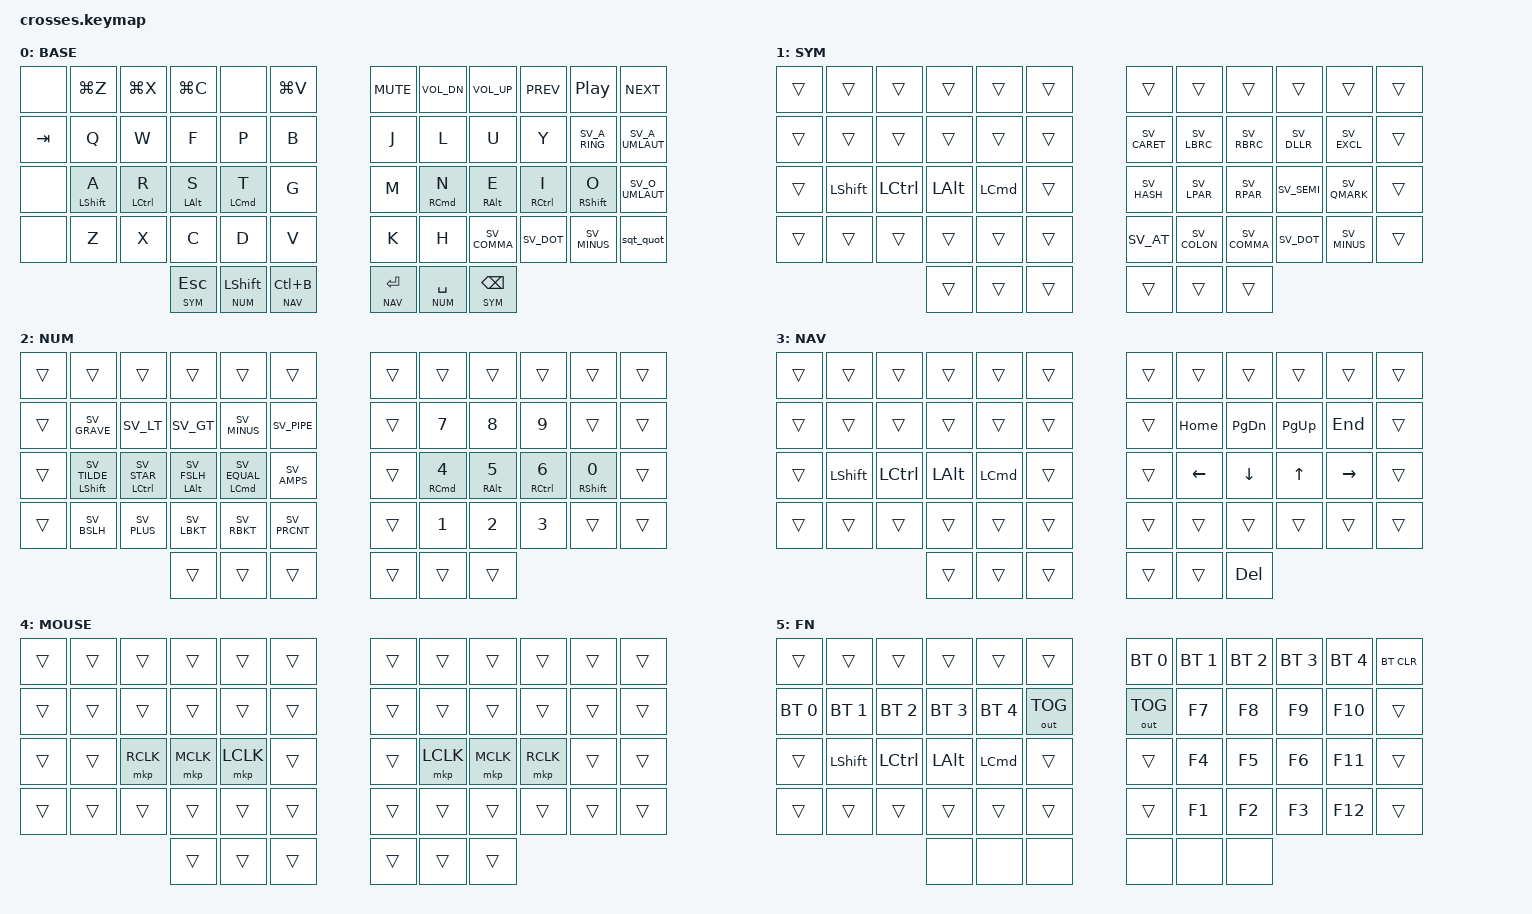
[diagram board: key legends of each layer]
#include <zephyr/dt-bindings/input/input-event-codes.h>
#include <behaviors.dtsi>
#include <dt-bindings/zmk/bt.h>
#include <dt-bindings/zmk/keys.h>
#include <dt-bindings/zmk/outputs.h>
#include <dt-bindings/zmk/pointing.h>

#ifndef KEYMAP_DRAWER

#include "keys_sv.h"

#endif

#define BASE    0
#define SYM     1
#define NUM     2
#define NAV     3
#define MOUSE   4
#define FN      5

#define QUICK_TAP_MS 175

/* App shortcuts */

#define M_FIND  LG(F)
#define M_UNDO  LG(Z)
#define M_COPY  LG(C)
#define M_CUT   LG(X)
#define M_PASTE LG(V)
#define M_ALL   LG(A)
#define M_SAVE  LG(S)
#define M_NEW   LG(N)
#define TMUX    LC(B)
#define BRI_UP LC(C_BRI_UP)
#define BRI_DN LC(C_BRI_DN)

/* 
    ╭────────────────────────┬────────────────────────╮ ╭─────────────────────────┬─────────────────────────╮
    │  0   1   2   3   4   5 │  6   7   8   9  10  11 │ │ LN5 LN4 LN3 LN2 LN1 LN0 │ RN0 RN1 RN2 RN3 RN4 RN5 │
    │ 12  13  14  15  16  17 │ 18  19  20  21  22  23 │ │ LT5 LT4 LT3 LT2 LT1 LT0 │ RT0 RT1 RT2 RT3 RT4 RT5 │
    │ 24  25  26  27  28  29 │ 30  31  32  33  34  35 │ │ LM5 LM4 LM3 LM2 LM1 LM0 │ RM0 RM1 RM2 RM3 RM4 RM5 │
    │ 36  37  38  39  40  41 │ 42  43  44  45  46  47 │ │ LB5 LB4 LB3 LB2 LB1 LB0 │ RB0 RB1 RB2 RB3 RB4 RB5 │
    ╰───────────╮ 48  49  50 │ 51  52  53 ╭───────────╯ ╰───────────╮ LH2 LH1 LH0 │ RH0 RH1 RH2 ╭───────────╯
                ╰────────────┴────────────╯                           ╰───────────┴─────────────╯
*/

/ {
    /omit-if-no-ref/ zip_temp_layer2: zip_temp_layer2 {
        compatible = "zmk,input-processor-temp-layer";
        #input-processor-cells = <2>;
        require-prior-idle-ms = <1000>;
        excluded-positions = <25 26 27 28 29 30 31 32 33 34>;
    };
};

/ {
    chosen { zmk,physical-layout = &gggw_crosses_54_layout; };

    behaviors {
        /*
         * Sticky key settings
         */

        sk_mod: sk_mod {
            compatible = "zmk,behavior-sticky-key";
            label = "SK_MOD";
            #binding-cells = <1>;
            bindings = <&kp>;
            release-after-ms = <900>;
            quick-release;
        };

        /*
         * Homerow mods - left hand
         */

        hml: homerow_mod_left {
            compatible = "zmk,behavior-hold-tap";
            label = "HML";
            #binding-cells = <2>;
            flavor = "balanced";
            tapping-term-ms = <280>;
            quick-tap-ms = <QUICK_TAP_MS>;
            require-prior-idle-ms = <150>;
            bindings = <&kp>, <&kp>;

            hold-trigger-key-positions = <
6 7 8 9 10 11
                 18 19 20 21 22 23
                 30 31 32 33 34 35
                 42 43 44 45 46 47
                 51 52 5
            >;

            hold-trigger-on-release;
        };

        /*
         * Homerow mods - right hand
         */

        hmr: homerow_mod_right {
            compatible = "zmk,behavior-hold-tap";
            label = "HMR";
            #binding-cells = <2>;
            flavor = "balanced";
            tapping-term-ms = <280>;
            quick-tap-ms = <QUICK_TAP_MS>;
            require-prior-idle-ms = <150>;
            bindings = <&kp>, <&kp>;

            hold-trigger-key-positions = <
0 1 2 3 4 5
                 12 13 14 15 16 17
                 24 25 26 27 28 29
                 36 37 38 39 40 41
                 48 49 5
            >;

            hold-trigger-on-release;
        };

        /*
         * Navigation hold taps
         */
        /*
        mt_home: mt_home {
            compatible = "zmk,behavior-hold-tap";
            label = "MT_HOME";
            #binding-cells = <2>;
            flavor = "tap-preferred";
            tapping-term-ms = <220>;
            quick-tap-ms = <220>;
            bindings = <&kp HOME>, <&kp>;
        };

        mt_end: mt_end {
            compatible = "zmk,behavior-hold-tap";
            label = "MT_END";
            #binding-cells = <2>;
            flavor = "tap-preferred";
            tapping-term-ms = <220>;
            quick-tap-ms = <220>;
            bindings = <&kp END>, <&kp>;
        };
*/
        /*
         * Mod morphs
         */

        sqt_quot: sqt_quot {
            compatible = "zmk,behavior-mod-morph";
            label = "SQT_QUOT";
            #binding-cells = <0>;
            bindings = <&kp SV_SQT>, <&kp SV_DQT>;

            mods = <(MOD_LSFT|MOD_RSFT)>;
        };

        smart_shft: smart_shft {
            compatible = "zmk,behavior-mod-morph";
            label = "SMART_SHIFT";
            #binding-cells = <0>;
            bindings = <&sk LSHIFT>, <&caps_word>;

            mods = <(MOD_LSFT)>;
        };
    };

    conditional_layers {
        compatible = "zmk,conditional-layers";

        fn_layer {
            if-layers = <SYM NAV>;
            then-layer = <FN>;
        };
    };

    /* 
    ╭────────────────────────┬────────────────────────╮ ╭─────────────────────────┬─────────────────────────╮
    │  0   1   2   3   4   5 │  6   7   8   9  10  11 │ │ LN5 LN4 LN3 LN2 LN1 LN0 │ RN0 RN1 RN2 RN3 RN4 RN5 │
    │ 12  13  14  15  16  17 │ 18  19  20  21  22  23 │ │ LT5 LT4 LT3 LT2 LT1 LT0 │ RT0 RT1 RT2 RT3 RT4 RT5 │
    │ 24  25  26  27  28  29 │ 30  31  32  33  34  35 │ │ LM5 LM4 LM3 LM2 LM1 LM0 │ RM0 RM1 RM2 RM3 RM4 RM5 │
    │ 36  37  38  39  40  41 │ 42  43  44  45  46  47 │ │ LB5 LB4 LB3 LB2 LB1 LB0 │ RB0 RB1 RB2 RB3 RB4 RB5 │
    ╰───────────╮ 48  49  50 │ 51  52  53 ╭───────────╯ ╰───────────╮ LH2 LH1 LH0 │ RH0 RH1 RH2 ╭───────────╯
                ╰────────────┴────────────╯                         ╰─────────────┴─────────────╯
*/

    keymap {
        compatible = "zmk,keymap";

        base_layer {
            display-name = "BASE";
            bindings = <
&none            &kp M_UNDO     &kp M_CUT     &kp M_COPY   &none           &kp M_PASTE       &kp C_MUTE   &kp C_VOL_DN   &kp C_VOL_UP  &kp C_PREV    &kp C_PP       &kp C_NEXT
&kp TAB          &kp Q          &kp W         &kp F        &kp P           &kp B             &kp J        &kp L          &kp U         &kp Y         &kp SV_A_RING  &kp SV_A_UMLAUT
&none            &hml LSHIFT A  &hml LCTRL R  &hml LALT S  &hml LCMD T     &kp G             &kp M        &hmr RCMD N    &hmr RALT E   &hmr RCTRL I  &hmr RSHIFT O  &kp SV_O_UMLAUT
&none            &kp Z          &kp X         &kp C        &kp D           &kp V             &kp K        &kp H          &kp SV_COMMA  &kp SV_DOT    &kp SV_MINUS   &sqt_quot
                                              &lt SYM ESC  &lt NUM LSHIFT  &lt NAV TMUX      &lt NAV RET  &lt NUM SPACE  &lt SYM BSPC
            >;
        };

        sym_layer {
            display-name = "SYM";
            bindings = <
&trans  &trans      &trans     &trans    &trans    &trans      &trans        &trans        &trans        &trans       &trans        &trans
&trans  &trans      &trans     &trans    &trans    &trans      &kp SV_CARET  &kp SV_LBRC   &kp SV_RBRC   &kp SV_DLLR  &kp SV_EXCL   &trans
&trans  &kp LSHIFT  &kp LCTRL  &kp LALT  &kp LCMD  &trans      &kp SV_HASH   &kp SV_LPAR   &kp SV_RPAR   &kp SV_SEMI  &kp SV_QMARK  &trans
&trans  &trans      &trans     &trans    &trans    &trans      &kp SV_AT     &kp SV_COLON  &kp SV_COMMA  &kp SV_DOT   &kp SV_MINUS  &trans
                               &trans    &trans    &trans      &trans        &trans        &trans
            >;
        };

        num_layer {
            display-name = "NUM";
            bindings = <
&trans  &trans                &trans              &trans             &trans              &trans           &trans  &trans        &trans        &trans         &trans          &trans
&trans  &kp SV_GRAVE          &kp SV_LT           &kp SV_GT          &kp SV_MINUS        &kp SV_PIPE      &trans  &kp N7        &kp N8        &kp N9         &trans          &trans
&trans  &hml LSHIFT SV_TILDE  &hml LCTRL SV_STAR  &hml LALT SV_FSLH  &hml LCMD SV_EQUAL  &kp SV_AMPS      &trans  &hmr RCMD N4  &hmr RALT N5  &hmr RCTRL N6  &hmr RSHIFT N0  &trans
&trans  &kp SV_BSLH           &kp SV_PLUS         &kp SV_LBKT        &kp SV_RBKT         &kp SV_PRCNT     &trans  &kp N1        &kp N2        &kp N3         &trans          &trans
                                                  &trans             &trans              &trans           &trans  &trans        &trans
            >;
        };

        nav_layer {
            display-name = "NAV";
            bindings = <
&trans  &trans      &trans     &trans     &trans    &trans        &trans   &trans     &trans     &trans     &trans     &trans
&trans  &trans      &trans     &trans     &trans    &trans        &trans   &kp HOME   &kp PG_DN  &kp PG_UP  &kp END    &trans
&trans  &kp LSHIFT  &kp LCTRL  &kp LALT   &kp LCMD  &trans        &trans   &kp LEFT   &kp DOWN   &kp UP     &kp RIGHT  &trans
&trans  &trans      &trans     &trans     &trans    &trans        &trans   &trans     &trans     &trans     &trans     &trans
                               &trans     &trans    &trans        &trans   &trans     &kp DEL
            >;
        };

        mouse_layer {
            display-name = "MOUSE";
            bindings = <
&trans  &trans    &trans     &trans      &trans     &trans         &trans     &trans     &trans     &trans     &trans    &trans
&trans  &trans    &trans     &trans      &trans     &trans         &trans     &trans     &trans     &trans     &trans    &trans
&trans  &trans    &mkp RCLK  &mkp MCLK   &mkp LCLK  &trans         &trans     &mkp LCLK  &mkp MCLK  &mkp RCLK  &trans    &trans
&trans  &trans    &trans     &trans      &trans     &trans         &trans     &trans     &trans     &trans     &trans    &trans
                             &trans      &trans     &trans         &trans     &trans     &trans
            >;
        };

        fn_layer {
            display-name = "FN";
            bindings = <
&trans        &trans        &trans        &trans        &trans        &trans          &bt BT_SEL 0  &bt BT_SEL 1  &bt BT_SEL 2  &bt BT_SEL 3  &bt BT_SEL 4  &bt BT_CLR
&bt BT_SEL 0  &bt BT_SEL 1  &bt BT_SEL 2  &bt BT_SEL 3  &bt BT_SEL 4  &out OUT_TOG    &out OUT_TOG  &kp F7        &kp F8        &kp F9        &kp F10       &trans
&trans        &kp LSHIFT    &kp LCTRL     &kp LALT      &kp LCMD      &trans          &trans        &kp F4        &kp F5        &kp F6        &kp F11       &trans
&trans        &trans        &trans        &trans        &trans        &trans          &trans        &kp F1        &kp F2        &kp F3        &kp F12       &trans
                                          &none        &none        &none          &none        &none        &none
            >;
        };
    };
};
